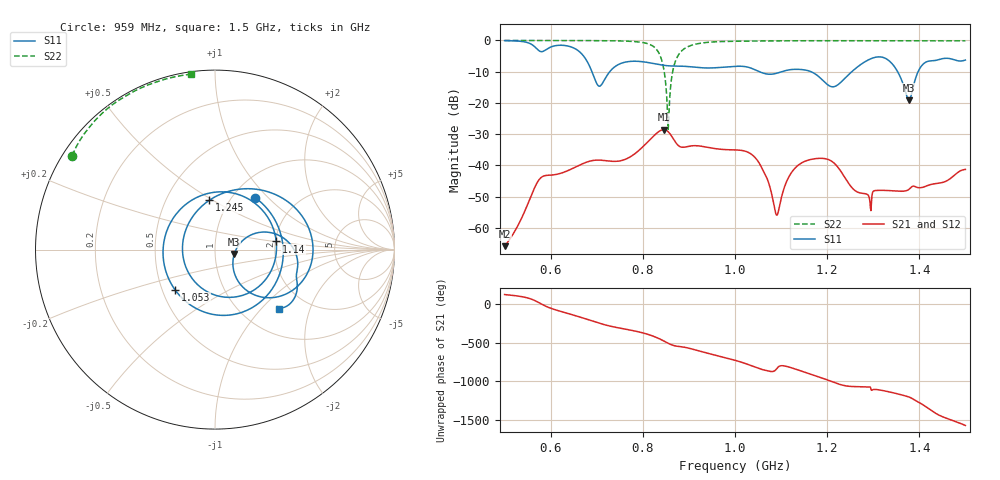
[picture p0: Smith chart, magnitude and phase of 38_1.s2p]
! TOUCHSTONE file generated by CST MICROWAVE STUDIO
! Date and time: Sat Nov 14 20:43:35 2020
! Project name: Scenario_1_Planar_Body_Tissue_Out_of_Line_v2.cst
! Parameters = {dy1=-294.1; L_HA=400; Ltissue=700; MT=2.54; Rad_Dielectric=30; Rad_Lower=7.3; Rad_Upper=30; Wtissue=700; a_HA=580; a_WG=246; b_HA=500; b_WG=121; c_HA=0; c_WG=187; d_feed=85; dx1=173; h_feed=15; h_lower=18; h_upper=40; hfat=3; hgap=25; hmuscle=50; hskin=1.5}
! Header version: 2018
! Port assignment regex: !\s*Touchstone port\s*([0-9]+)\s*=\s*(CST MWS port|CST DS port)\s*([0-9]+|Zmin|Zmax)\s*\(\"(.*)\"\)(\s*mode\s*([0-9]+))?.*
! Touchstone port assignment:
! Touchstone port 1 = CST MWS port 1 ("")
! Touchstone port 2 = CST MWS port 2 ("")
# GHz S DB R 50
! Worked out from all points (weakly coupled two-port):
!   1003 points, 500 MHz to 1.5 GHz, reference 50 ohm
!   highest |S21| = -28.53 dB at 845 MHz (marker M1); lowest = -65.8 dB at 500 MHz (marker M2)
!   lowest |S11| = -19.2 dB at 1.378 GHz (marker M3), VSWR 1.25, Z = 61.9 - j3.1 ohm
!   |S11| at or under -10 dB: 1.053 GHz to 1.101 GHz (48.54 MHz wide, 4.51 % of centre); 1.165 GHz to 1.253 GHz (88.53 MHz wide, 7.32 % of centre); 1.353 GHz to 1.397 GHz (44.37 MHz wide, 3.23 % of centre) (the widest 3 of 4)
!   |S22| runs from -28.4 to 0.0 dB; largest |S21 - S12| = 0.00021
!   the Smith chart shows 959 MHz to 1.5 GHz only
!   S11 on the Smith chart (normalised r, x): 959 MHz: 1.26, +0.84; 1.053 GHz: 0.58, -0.29; 1.14 GHz: 2.02, +0.21; 1.245 GHz: 0.81, +0.48; 1.5 GHz: 1.46, -1.26
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0.5  -0.07 -121.8  -65.81 120.0  -65.81 120.0  -0.01 151.1
0.624  -1.54 175.5  -42.39 -101.7  -42.39 -101.7  -0.03 142.2
0.667  -4.24 110.9  -39.59 -177.1  -39.59 -177.1  -0.04 138.3
0.693  -11.30 36.0  -38.37 133.1  -38.37 133.1  -0.06 135.6
0.72  -11.75 -106.7  -38.48 85.5  -38.48 85.5  -0.09 132.2
0.765  -6.84 157.5  -37.84 29.9  -37.84 29.9  -0.23 124.1
0.834  -7.68 19.8  -29.22 -86.0  -29.22 -86.0  -3.80 79.6
0.845  -7.94 -8.9  -28.53 -118.4  -28.53 -118.4  -8.86 56.4
0.856  -8.12 -39.6  -29.36 -152.5  -29.36 -152.5  -26.04 -92.7
0.87  -8.20 -80.9  -32.37 177.3  -32.37 177.3  -6.93 -162.9
0.901  -8.39 -173.4  -33.82 145.6  -33.82 145.6  -1.80 166.2
0.959  -8.73 52.4  -34.64 54.8  -34.64 54.8  -0.43 146.7
1  -8.29 -21.5  -35.02 -8.5  -35.02 -8.5  -0.26 139.9
1.053  -10.01 -134.9  -39.35 -116.9  -39.35 -116.9  -0.18 134.0
1.091  -10.48 123.8  -55.90 -113.7  -55.90 -113.7  -0.13 130.4
1.14  -9.26 7.6  -39.60 -139.9  -39.60 -139.9  -0.10 126.3
1.167  -10.13 -47.6  -37.99 166.6  -37.99 166.6  -0.09 124.1
1.245  -11.17 96.7  -45.37 17.2  -45.37 17.2  -0.08 118.2
1.334  -6.46 -30.3  -48.02 -55.9  -48.02 -55.9  -0.09 111.4
1.378  -19.15 -13.0  -47.57 -124.2  -47.56 -124.0  -0.09 108.1
1.412  -7.14 0.1  -46.76 120.6  -46.76 120.6  -0.09 105.3
1.5  -6.27 -42.7  -41.26 -130.3  -41.26 -130.3  -0.13 97.8
